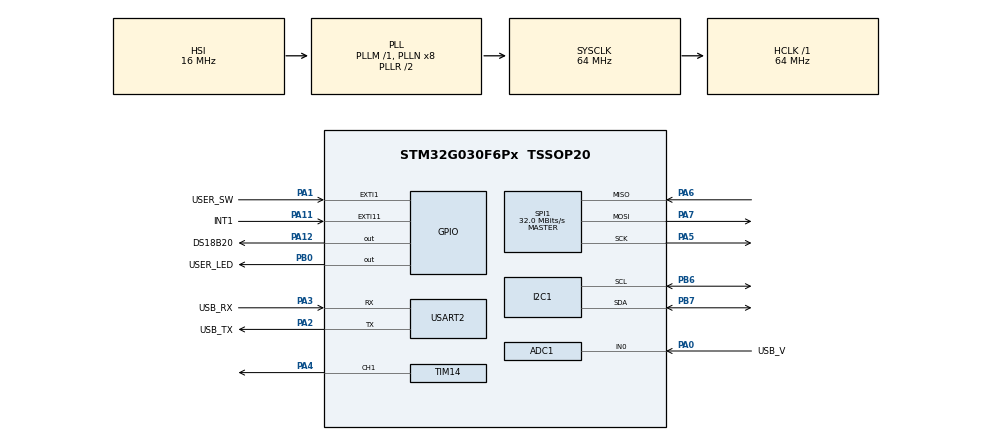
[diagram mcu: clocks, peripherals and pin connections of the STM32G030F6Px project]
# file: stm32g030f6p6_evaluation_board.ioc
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Mcu.Family=STM32G0
PA6.Mode=Full_Duplex_Master
RCC.CortexFreq_Value=64000000
SPI1.VirtualType=VM_MASTER
ADC1.Overrun=ADC_OVR_DATA_OVERWRITTEN
ADC1.ContinuousConvMode=ENABLE
Dma.ADC1.0.Polarity=HAL_DMAMUX_REQ_GEN_RISING
PA11\ [PA9].GPIO_Label=INT1
PA12\ [PA10].GPIO_Label=DS18B20
PA14-BOOT0.Mode=Serial_Wire
PA0.GPIO_Label=USB_V
PB0.GPIO_Label=USER_LED
PC15-OSC32_OUT\ (PC15).Mode=OSC enable
ADC1.SamplingTimeCommon1=ADC_SAMPLETIME_160CYCLES_5
RCC.SYSCLKSource=RCC_SYSCLKSOURCE_PLLCLK
ProjectManager.StackSize=0x400
PC14-OSC32_IN\ (PC14).Mode=HSE-External-Clock-Source
NVIC.ADC1_IRQn=true\:3\:0\:true\:false\:true\:true\:true
SH.S_TIM14_CH1.0=TIM14_CH1,PWM Generation1 CH1
SPI1.Direction=SPI_DIRECTION_2LINES
RCC.HCLKFreq_Value=64000000
PA12\ [PA10].Signal=GPIO_Output
PB6.Signal=I2C1_SCL
Dma.ADC1.0.Direction=DMA_PERIPH_TO_MEMORY
PB6.Mode=I2C
SPI1.CalculateBaudRate=32.0 MBits/s
Dma.ADC1.0.MemDataAlignment=DMA_MDATAALIGN_WORD
RCC.AHBFreq_Value=64000000
PA14-BOOT0.Signal=SYS_SWCLK
ADC1.Channel-0\#ChannelRegularConversion=ADC_CHANNEL_0
RCC.HSE_VALUE=16000000
USART2.VirtualMode-Asynchronous=VM_ASYNC
TIM14.Period=2000
Dma.ADC1.0.PeriphInc=DMA_PINC_DISABLE
PA0.Mode=IN0
PB7.Signal=I2C1_SDA
ADC1.SamplingTime-0\#ChannelRegularConversion=ADC_SAMPLINGTIME_COMMON_1
PA0.Signal=ADC1_IN0
ADC1.SelectedChannel=ADC_CHANNEL_0
Mcu.Package=TSSOP20
PA6.Signal=SPI1_MISO
PA2.GPIO_Label=USB_TX
VP_TIM14_VS_ClockSourceINT.Mode=Enable_Timer
PA11\ [PA9].GPIO_ModeDefaultEXTI=GPIO_MODE_IT_RISING
TIM16.Prescaler=63
TIM14.Pulse=500
Dma.Request0=ADC1
PA1.GPIO_ModeDefaultEXTI=GPIO_MODE_IT_FALLING
ADC1.EOCSelection=ADC_EOC_SEQ_CONV
Dma.ADC1.0.EventEnable=DISABLE
NVIC.EXTI4_15_IRQn=true\:1\:0\:true\:false\:true\:true\:true
PA3.Signal=USART2_RX
PA5.Mode=Full_Duplex_Master
Dma.ADC1.0.Instance=DMA1_Channel1
ADC1.Rank-0\#ChannelRegularConversion=1
PA7.Mode=Full_Duplex_Master
Dma.ADC1.0.SyncRequestNumber=1
RCC.EXTERNAL_CLOCK_VALUE=12288000
PC15-OSC32_OUT\ (PC15).Signal=RCC_OSC_EN
VP_TIM16_VS_ClockSourceINT.Mode=Enable_Timer
PA13.Signal=SYS_SWDIO
PA3.Mode=Asynchronous
Dma.ADC1.0.PeriphDataAlignment=DMA_PDATAALIGN_WORD
ProjectManager.TargetToolchain=STM32CubeIDE
Dma.ADC1.0.Mode=DMA_CIRCULAR
Dma.ADC1.0.SignalID=NONE
Dma.ADC1.0.SyncSignalID=NONE
Dma.ADC1.0.Priority=DMA_PRIORITY_LOW
I2C1.Timing=0x10707DBC
RCC.LSE_VALUE=32768
PA1.Signal=GPXTI1
PA5.Signal=SPI1_SCK
board=custom
RCC.VCOOutputFreq_Value=128000000
Dma.ADC1.0.SyncPolarity=HAL_DMAMUX_SYNC_NO_EVENT
TIM14.Channel=TIM_CHANNEL_1
SPI1.Mode=SPI_MODE_MASTER
RCC.ADCFreq_Value=64000000
PA1.GPIO_Label=USER_SW
ADC1.DMAContinuousRequests=ENABLE
PA13.Mode=Serial_Wire
PA11\ [PA9].Signal=GPXTI11
Mcu.Name=STM32G030F6Px
TIM14.Prescaler=63
PA2.Signal=USART2_TX
PA4.Signal=S_TIM14_CH1
RCC.SYSCLKFreq_VALUE=64000000
ADC1.master=1
PC14-OSC32_IN\ (PC14).Signal=RCC_OSC_IN
Dma.ADC1.0.RequestNumber=1
PB7.Mode=I2C
Dma.ADC1.0.SyncEnable=DISABLE
Dma.ADC1.0.MemInc=DMA_MINC_ENABLE
ProjectManager.HeapSize=0x200
RCC.HSI_VALUE=16000000
ADC1.NbrOfConversionFlag=1
PA2.Mode=Asynchronous
NVIC.DMA1_Channel1_IRQn=true\:0\:0\:false\:false\:true\:false\:true
PB0.Signal=GPIO_Output
ADC1.ClockPrescaler=ADC_CLOCK_ASYNC_DIV256
PA3.GPIO_Label=USB_RX
PA7.Signal=SPI1_MOSI
NVIC.EXTI0_1_IRQn=true\:2\:0\:true\:false\:true\:true\:true

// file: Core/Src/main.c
/* USER CODE BEGIN Header */
// STM32G030F6 evaluation board
// file name: main.c
// Author: BM
/* USER CODE END Header */
#include "main.h"

/* USER CODE BEGIN Includes */
#include "user_led.h"
#include "ds18b20.h"
#include "adxl345.h"
#include "temp_sensor.h"
#include "ssd1306.h"
#include "ssd1306_tests.h"
#include "user_menu.h"
#include "voltage_monitor.h"
/* USER CODE END Includes */

/* USER CODE BEGIN PD */
#define ADC1_BUF_LEN    256
/* USER CODE END PD */

ADC_HandleTypeDef hadc1;
DMA_HandleTypeDef hdma_adc1;

I2C_HandleTypeDef hi2c1;

SPI_HandleTypeDef hspi1;

TIM_HandleTypeDef htim14;
TIM_HandleTypeDef htim16;

UART_HandleTypeDef huart2;

/* USER CODE BEGIN PV */
uint32_t adc1DmaBuf[ADC1_BUF_LEN];
uint32_t heartBeatTicks;
extern OneWire_t OneWire;
extern Ds18b20Sensor_t	ds18b20[_DS18B20_MAX_SENSORS];

USER_LEDS_START
USER_LED(
		.ledPort = USER_LED_GPIO_Port,
		.ledPin = USER_LED_Pin,
		.kind = LED_HEARTBEAT,
		.isActiveLow = false)
USER_LEDS_END

ADXL_345_START
ADXL_345(.hi2c = &hi2c1,
		 .i2cId = 0x53,
		 .deviceId = 0xE5,
		 .intPin = INT1_Pin)
ADXL_345_END

TEMP_SENSORS_START
TEMP_SENSOR(
		.oneWire = &OneWire,
		.rom = &ds18b20[0].Address[0])
TEMP_SENSORS_END

/* USER CODE END PV */

void SystemClock_Config(void);
static void MX_GPIO_Init(void);
static void MX_DMA_Init(void);
static void MX_ADC1_Init(void);
static void MX_I2C1_Init(void);
static void MX_SPI1_Init(void);
static void MX_TIM14_Init(void);
static void MX_USART2_UART_Init(void);
static void MX_TIM16_Init(void);

/* USER CODE BEGIN 0 */

// Application functions

static void setInitialState(void)
{
	// Peripherals initialization
	HAL_TIM_PWM_Start(&htim14, TIM_CHANNEL_1);
	HAL_ADC_Start_DMA(&hadc1, adc1DmaBuf, ADC1_BUF_LEN);

	// User initialization
	userLedInit();
	voltageMoniorInit(&adc1DmaBuf[0], ADC1_BUF_LEN);
	adxl345Init();
	tempSensorInit();
	ssd1306_Init();
	userMenuInit();
}

static void pollingTasks(void)
{
	userLedHeartBeat();
	tempSensorPollingTask();
	userMenuTask();
}

static void onSwPressed(void)
{
	unsigned period = userLedGetHeartBeatPeriod(&userLedModules[0]);
	unsigned newPeriod = (period == DEFAULT_USER_LED_PERIOD) ? ALTERNATE_LED_PERIOD : DEFAULT_USER_LED_PERIOD;

	userLedSetHeartBeatPeriod(&userLedModules[0], newPeriod);
}

// HAL interrupt callbacks

void HAL_ADC_ConvCpltCallback(ADC_HandleTypeDef *hadc)
{
	if(hadc->Instance == ADC1)
		voltageMonitorOnNewVal();
}

void HAL_GPIO_EXTI_Falling_Callback(uint16_t GPIO_Pin)
{
	if(GPIO_Pin == USER_SW_Pin)
		onSwPressed();
}

void HAL_GPIO_EXTI_Rising_Callback(uint16_t GPIO_Pin)
{
	if(GPIO_Pin == INT1_Pin)
	{
		onSwPressed();
		adxl345OnInterrupt(&adxl345Modules[0]);
	}
}

/* USER CODE END 0 */

int main(void)
{

  /* MCU Configuration--------------------------------------------------------*/

  /* Reset of all peripherals, Initializes the Flash interface and the Systick. */
  HAL_Init();

  /* Configure the system clock */
  SystemClock_Config();

  /* Initialize all configured peripherals */
  MX_GPIO_Init();
  MX_DMA_Init();
  MX_ADC1_Init();
  MX_I2C1_Init();
  MX_SPI1_Init();
  MX_TIM14_Init();
  MX_USART2_UART_Init();
  MX_TIM16_Init();
  /* USER CODE BEGIN 2 */
  setInitialState();
  /* USER CODE END 2 */

  /* Infinite loop */
  /* USER CODE BEGIN WHILE */
  while (1)
  {
	  pollingTasks();
    /* USER CODE END WHILE */

  }
}

void SystemClock_Config(void)
{
  RCC_OscInitTypeDef RCC_OscInitStruct = {0};
  RCC_ClkInitTypeDef RCC_ClkInitStruct = {0};
  RCC_PeriphCLKInitTypeDef PeriphClkInit = {0};

  /** Configure the main internal regulator output voltage
  */
  HAL_PWREx_ControlVoltageScaling(PWR_REGULATOR_VOLTAGE_SCALE1);
  /** Initializes the RCC Oscillators according to the specified parameters
  * in the RCC_OscInitTypeDef structure.
  */
  RCC_OscInitStruct.OscillatorType = RCC_OSCILLATORTYPE_HSI;
  RCC_OscInitStruct.HSIState = RCC_HSI_ON;
  RCC_OscInitStruct.HSIDiv = RCC_HSI_DIV1;
  RCC_OscInitStruct.HSICalibrationValue = RCC_HSICALIBRATION_DEFAULT;
  RCC_OscInitStruct.PLL.PLLState = RCC_PLL_ON;
  RCC_OscInitStruct.PLL.PLLSource = RCC_PLLSOURCE_HSI;
  RCC_OscInitStruct.PLL.PLLM = RCC_PLLM_DIV1;
  RCC_OscInitStruct.PLL.PLLN = 8;
  RCC_OscInitStruct.PLL.PLLP = RCC_PLLP_DIV2;
  RCC_OscInitStruct.PLL.PLLR = RCC_PLLR_DIV2;
  if (HAL_RCC_OscConfig(&RCC_OscInitStruct) != HAL_OK)
  {
    Error_Handler();
  }
  /** Initializes the CPU, AHB and APB buses clocks
  */
  RCC_ClkInitStruct.ClockType = RCC_CLOCKTYPE_HCLK|RCC_CLOCKTYPE_SYSCLK
                              |RCC_CLOCKTYPE_PCLK1;
  RCC_ClkInitStruct.SYSCLKSource = RCC_SYSCLKSOURCE_PLLCLK;
  RCC_ClkInitStruct.AHBCLKDivider = RCC_SYSCLK_DIV1;
  RCC_ClkInitStruct.APB1CLKDivider = RCC_HCLK_DIV1;

  if (HAL_RCC_ClockConfig(&RCC_ClkInitStruct, FLASH_LATENCY_2) != HAL_OK)
  {
    Error_Handler();
  }
  /** Initializes the peripherals clocks
  */
  PeriphClkInit.PeriphClockSelection = RCC_PERIPHCLK_I2C1|RCC_PERIPHCLK_ADC;
  PeriphClkInit.I2c1ClockSelection = RCC_I2C1CLKSOURCE_PCLK1;
  PeriphClkInit.AdcClockSelection = RCC_ADCCLKSOURCE_SYSCLK;
  if (HAL_RCCEx_PeriphCLKConfig(&PeriphClkInit) != HAL_OK)
  {
    Error_Handler();
  }
}

static void MX_ADC1_Init(void)
{

  ADC_ChannelConfTypeDef sConfig = {0};

  /** Configure the global features of the ADC (Clock, Resolution, Data Alignment and number of conversion)
  */
  hadc1.Instance = ADC1;
  hadc1.Init.ClockPrescaler = ADC_CLOCK_ASYNC_DIV256;
  hadc1.Init.Resolution = ADC_RESOLUTION_12B;
  hadc1.Init.DataAlign = ADC_DATAALIGN_RIGHT;
  hadc1.Init.ScanConvMode = ADC_SCAN_DISABLE;
  hadc1.Init.EOCSelection = ADC_EOC_SEQ_CONV;
  hadc1.Init.LowPowerAutoWait = DISABLE;
  hadc1.Init.LowPowerAutoPowerOff = DISABLE;
  hadc1.Init.ContinuousConvMode = ENABLE;
  hadc1.Init.NbrOfConversion = 1;
  hadc1.Init.DiscontinuousConvMode = DISABLE;
  hadc1.Init.ExternalTrigConv = ADC_SOFTWARE_START;
  hadc1.Init.ExternalTrigConvEdge = ADC_EXTERNALTRIGCONVEDGE_NONE;
  hadc1.Init.DMAContinuousRequests = ENABLE;
  hadc1.Init.Overrun = ADC_OVR_DATA_OVERWRITTEN;
  hadc1.Init.SamplingTimeCommon1 = ADC_SAMPLETIME_160CYCLES_5;
  hadc1.Init.SamplingTimeCommon2 = ADC_SAMPLETIME_1CYCLE_5;
  hadc1.Init.OversamplingMode = DISABLE;
  hadc1.Init.TriggerFrequencyMode = ADC_TRIGGER_FREQ_HIGH;
  if (HAL_ADC_Init(&hadc1) != HAL_OK)
  {
    Error_Handler();
  }
  /** Configure Regular Channel
  */
  sConfig.Channel = ADC_CHANNEL_0;
  sConfig.Rank = ADC_REGULAR_RANK_1;
  sConfig.SamplingTime = ADC_SAMPLINGTIME_COMMON_1;
  if (HAL_ADC_ConfigChannel(&hadc1, &sConfig) != HAL_OK)
  {
    Error_Handler();
  }

}

static void MX_I2C1_Init(void)
{

  hi2c1.Instance = I2C1;
  hi2c1.Init.Timing = 0x10707DBC;
  hi2c1.Init.OwnAddress1 = 0;
  hi2c1.Init.AddressingMode = I2C_ADDRESSINGMODE_7BIT;
  hi2c1.Init.DualAddressMode = I2C_DUALADDRESS_DISABLE;
  hi2c1.Init.OwnAddress2 = 0;
  hi2c1.Init.OwnAddress2Masks = I2C_OA2_NOMASK;
  hi2c1.Init.GeneralCallMode = I2C_GENERALCALL_DISABLE;
  hi2c1.Init.NoStretchMode = I2C_NOSTRETCH_DISABLE;
  if (HAL_I2C_Init(&hi2c1) != HAL_OK)
  {
    Error_Handler();
  }
  /** Configure Analogue filter
  */
  if (HAL_I2CEx_ConfigAnalogFilter(&hi2c1, I2C_ANALOGFILTER_ENABLE) != HAL_OK)
  {
    Error_Handler();
  }
  /** Configure Digital filter
  */
  if (HAL_I2CEx_ConfigDigitalFilter(&hi2c1, 0) != HAL_OK)
  {
    Error_Handler();
  }

}

static void MX_SPI1_Init(void)
{

  /* SPI1 parameter configuration*/
  hspi1.Instance = SPI1;
  hspi1.Init.Mode = SPI_MODE_MASTER;
  hspi1.Init.Direction = SPI_DIRECTION_2LINES;
  hspi1.Init.DataSize = SPI_DATASIZE_8BIT;
  hspi1.Init.CLKPolarity = SPI_POLARITY_LOW;
  hspi1.Init.CLKPhase = SPI_PHASE_1EDGE;
  hspi1.Init.NSS = SPI_NSS_SOFT;
  hspi1.Init.BaudRatePrescaler = SPI_BAUDRATEPRESCALER_2;
  hspi1.Init.FirstBit = SPI_FIRSTBIT_MSB;
  hspi1.Init.TIMode = SPI_TIMODE_DISABLE;
  hspi1.Init.CRCCalculation = SPI_CRCCALCULATION_DISABLE;
  hspi1.Init.CRCPolynomial = 7;
  hspi1.Init.CRCLength = SPI_CRC_LENGTH_DATASIZE;
  hspi1.Init.NSSPMode = SPI_NSS_PULSE_ENABLE;
  if (HAL_SPI_Init(&hspi1) != HAL_OK)
  {
    Error_Handler();
  }

}

static void MX_TIM14_Init(void)
{

  TIM_OC_InitTypeDef sConfigOC = {0};

  htim14.Instance = TIM14;
  htim14.Init.Prescaler = 63;
  htim14.Init.CounterMode = TIM_COUNTERMODE_UP;
  htim14.Init.Period = 2000;
  htim14.Init.ClockDivision = TIM_CLOCKDIVISION_DIV1;
  htim14.Init.AutoReloadPreload = TIM_AUTORELOAD_PRELOAD_DISABLE;
  if (HAL_TIM_Base_Init(&htim14) != HAL_OK)
  {
    Error_Handler();
  }
  if (HAL_TIM_PWM_Init(&htim14) != HAL_OK)
  {
    Error_Handler();
  }
  sConfigOC.OCMode = TIM_OCMODE_PWM1;
  sConfigOC.Pulse = 500;
  sConfigOC.OCPolarity = TIM_OCPOLARITY_HIGH;
  sConfigOC.OCFastMode = TIM_OCFAST_DISABLE;
  if (HAL_TIM_PWM_ConfigChannel(&htim14, &sConfigOC, TIM_CHANNEL_1) != HAL_OK)
  {
    Error_Handler();
  }
  HAL_TIM_MspPostInit(&htim14);

}

static void MX_TIM16_Init(void)
{

  htim16.Instance = TIM16;
  htim16.Init.Prescaler = 63;
  htim16.Init.CounterMode = TIM_COUNTERMODE_UP;
  htim16.Init.Period = 65535;
  htim16.Init.ClockDivision = TIM_CLOCKDIVISION_DIV1;
  htim16.Init.RepetitionCounter = 0;
  htim16.Init.AutoReloadPreload = TIM_AUTORELOAD_PRELOAD_DISABLE;
  if (HAL_TIM_Base_Init(&htim16) != HAL_OK)
  {
    Error_Handler();
  }

}

static void MX_USART2_UART_Init(void)
{

  huart2.Instance = USART2;
  huart2.Init.BaudRate = 115200;
  huart2.Init.WordLength = UART_WORDLENGTH_8B;
  huart2.Init.StopBits = UART_STOPBITS_1;
  huart2.Init.Parity = UART_PARITY_NONE;
  huart2.Init.Mode = UART_MODE_TX_RX;
  huart2.Init.HwFlowCtl = UART_HWCONTROL_NONE;
  huart2.Init.OverSampling = UART_OVERSAMPLING_16;
  huart2.Init.OneBitSampling = UART_ONE_BIT_SAMPLE_DISABLE;
  huart2.Init.ClockPrescaler = UART_PRESCALER_DIV1;
  huart2.AdvancedInit.AdvFeatureInit = UART_ADVFEATURE_NO_INIT;
  if (HAL_UART_Init(&huart2) != HAL_OK)
  {
    Error_Handler();
  }

}

static void MX_DMA_Init(void)
{

  /* DMA controller clock enable */
  __HAL_RCC_DMA1_CLK_ENABLE();

  /* DMA interrupt init */
  /* DMA1_Channel1_IRQn interrupt configuration */
  HAL_NVIC_SetPriority(DMA1_Channel1_IRQn, 0, 0);
  HAL_NVIC_EnableIRQ(DMA1_Channel1_IRQn);

}

static void MX_GPIO_Init(void)
{
  GPIO_InitTypeDef GPIO_InitStruct = {0};

  /* GPIO Ports Clock Enable */
  __HAL_RCC_GPIOB_CLK_ENABLE();
  __HAL_RCC_GPIOC_CLK_ENABLE();
  __HAL_RCC_GPIOA_CLK_ENABLE();

  /*Configure GPIO pin Output Level */
  HAL_GPIO_WritePin(USER_LED_GPIO_Port, USER_LED_Pin, GPIO_PIN_RESET);

  /*Configure GPIO pin Output Level */
  HAL_GPIO_WritePin(DS18B20_GPIO_Port, DS18B20_Pin, GPIO_PIN_RESET);

  /*Configure GPIO pin : PC15 */
  GPIO_InitStruct.Pin = GPIO_PIN_15;
  GPIO_InitStruct.Mode = GPIO_MODE_AF_PP;
  GPIO_InitStruct.Pull = GPIO_NOPULL;
  GPIO_InitStruct.Speed = GPIO_SPEED_FREQ_LOW;
  GPIO_InitStruct.Alternate = GPIO_AF1_OSC;
  HAL_GPIO_Init(GPIOC, &GPIO_InitStruct);

  /*Configure GPIO pin : USER_SW_Pin */
  GPIO_InitStruct.Pin = USER_SW_Pin;
  GPIO_InitStruct.Mode = GPIO_MODE_IT_FALLING;
  GPIO_InitStruct.Pull = GPIO_NOPULL;
  HAL_GPIO_Init(USER_SW_GPIO_Port, &GPIO_InitStruct);

  /*Configure GPIO pin : USER_LED_Pin */
  GPIO_InitStruct.Pin = USER_LED_Pin;
  GPIO_InitStruct.Mode = GPIO_MODE_OUTPUT_PP;
  GPIO_InitStruct.Pull = GPIO_NOPULL;
  GPIO_InitStruct.Speed = GPIO_SPEED_FREQ_LOW;
  HAL_GPIO_Init(USER_LED_GPIO_Port, &GPIO_InitStruct);

  /*Configure GPIO pin : INT1_Pin */
  GPIO_InitStruct.Pin = INT1_Pin;
  GPIO_InitStruct.Mode = GPIO_MODE_IT_RISING;
  GPIO_InitStruct.Pull = GPIO_NOPULL;
  HAL_GPIO_Init(INT1_GPIO_Port, &GPIO_InitStruct);

  /*Configure GPIO pin : DS18B20_Pin */
  GPIO_InitStruct.Pin = DS18B20_Pin;
  GPIO_InitStruct.Mode = GPIO_MODE_OUTPUT_PP;
  GPIO_InitStruct.Pull = GPIO_NOPULL;
  GPIO_InitStruct.Speed = GPIO_SPEED_FREQ_LOW;
  HAL_GPIO_Init(DS18B20_GPIO_Port, &GPIO_InitStruct);

  /* EXTI interrupt init*/
  HAL_NVIC_SetPriority(EXTI0_1_IRQn, 2, 0);
  HAL_NVIC_EnableIRQ(EXTI0_1_IRQn);

  HAL_NVIC_SetPriority(EXTI4_15_IRQn, 1, 0);
  HAL_NVIC_EnableIRQ(EXTI4_15_IRQn);

}

void Error_Handler(void)
{
  __disable_irq();
  while (1)
  {
  }
}

/************************ (C) COPYRIGHT STMicroelectronics *****END OF FILE****/
